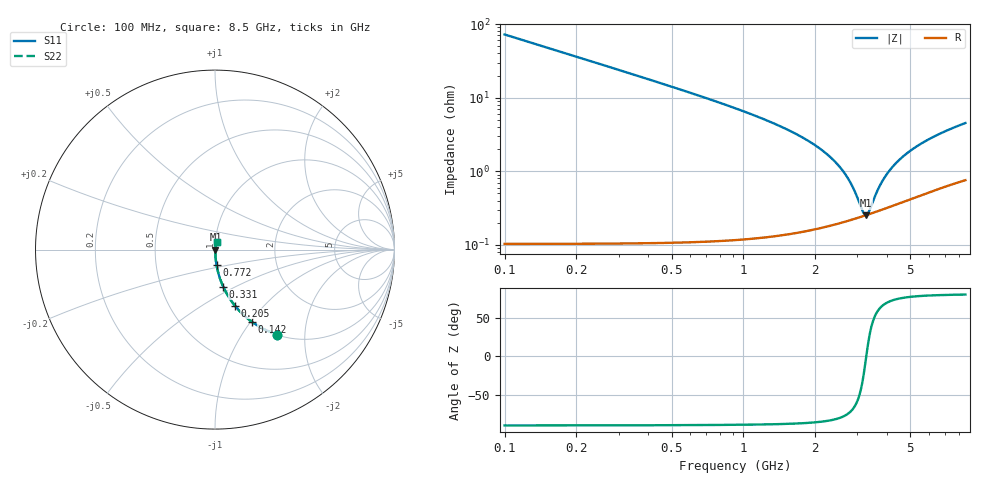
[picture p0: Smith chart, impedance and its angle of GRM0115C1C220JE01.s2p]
!Murata Part Number: GRM0115C1C220JE01
!These Parameters are Measured in Series Mode Connection
!Data Generated on Mar 30, 2021
!  o--ll--o
!Port1  Port2
!  o------o
!Operation Temp=25[degC], DC Bias Voltage=0[V]
!Freq. Start=100[MHz] Stop=9[GHz] 401[Steps]
# Hz S RI R 50
!Freq.(Hz) S11(Real) S11(Imag) S21(Real) S21(Imag) S12(Real) S12(Imag) S22(Real) S22(Imag)
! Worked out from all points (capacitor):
!   401 points, 100 MHz to 8.5 GHz, reference 50 ohm
!   read as one part in series: C = 22 pF near 142 MHz
!   lowest |Z| = 253 mohm at 3.25 GHz (marker M1)
!   series resonance near 3.268 GHz, so ESL is about 110 pH
!   S11 on the Smith chart (normalised r, x): 100 MHz: 1.00, -1.45; 142 MHz: 1.00, -1.02; 205 MHz: 1.00, -0.70; 331 MHz: 1.00, -0.43; 772 MHz: 1.00, -0.18; 8.5 GHz: 1.02, +0.09
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1e8  0.3433 -0.4741  0.6567 0.4741  0.6567 0.4741  0.3433 -0.4741
1.42e8  0.2059 -0.4034  0.7941 0.4034  0.7941 0.4034  0.2059 -0.4034
2.05e8  0.1107 -0.3123  0.8893 0.3123  0.8893 0.3123  0.1107 -0.3123
3.31e8  0.0456 -0.2062  0.9544 0.2062  0.9544 0.2062  0.0456 -0.2062
5.2e8  0.019 -0.1328  0.981 0.1328  0.981 0.1328  0.019 -0.1328
7.72e8  0.00884 -0.0875  0.9912 0.0875  0.9912 0.0875  0.00884 -0.0875
1.066e9  0.00484 -0.0601  0.9952 0.0601  0.9952 0.0601  0.00484 -0.0601
1.507e9  0.00278 -0.0375  0.9972 0.0375  0.9972 0.0375  0.00278 -0.0375
2.389e9  0.00206 -0.0139  0.9979 0.0139  0.9979 0.0139  0.00206 -0.0139
2.683e9  0.00215 -0.00863  0.9979 0.00863  0.9979 0.00863  0.00215 -0.00863
2.914e9  0.00227 -0.00499  0.9977 0.00499  0.9977 0.00499  0.00227 -0.00499
3.145e9  0.00243 -0.00166  0.9976 0.00166  0.9976 0.00166  0.00243 -0.00166
3.25e9  0.00252 -0.000245  0.9975 0.000245  0.9975 0.000245  0.00252 -0.000245
3.355e9  0.00261 0.00113  0.9974 -0.00113  0.9974 -0.00113  0.00261 0.00113
3.607e9  0.00284 0.00424  0.9972 -0.00424  0.9972 -0.00424  0.00284 0.00424
3.796e9  0.00303 0.00643  0.997 -0.00643  0.997 -0.00643  0.00303 0.00643
4.027e9  0.00328 0.00897  0.9967 -0.00897  0.9967 -0.00897  0.00328 0.00897
4.3e9  0.0036 0.0118  0.9964 -0.0118  0.9964 -0.0118  0.0036 0.0118
4.909e9  0.00436 0.0176  0.9956 -0.0176  0.9956 -0.0176  0.00436 0.0176
5.707e9  0.00545 0.0244  0.9946 -0.0244  0.9946 -0.0244  0.00545 0.0244
7.114e9  0.00747 0.0348  0.9925 -0.0348  0.9925 -0.0348  0.00747 0.0348
8.5e9  0.00946 0.0439  0.9905 -0.0439  0.9905 -0.0439  0.00946 0.0439
